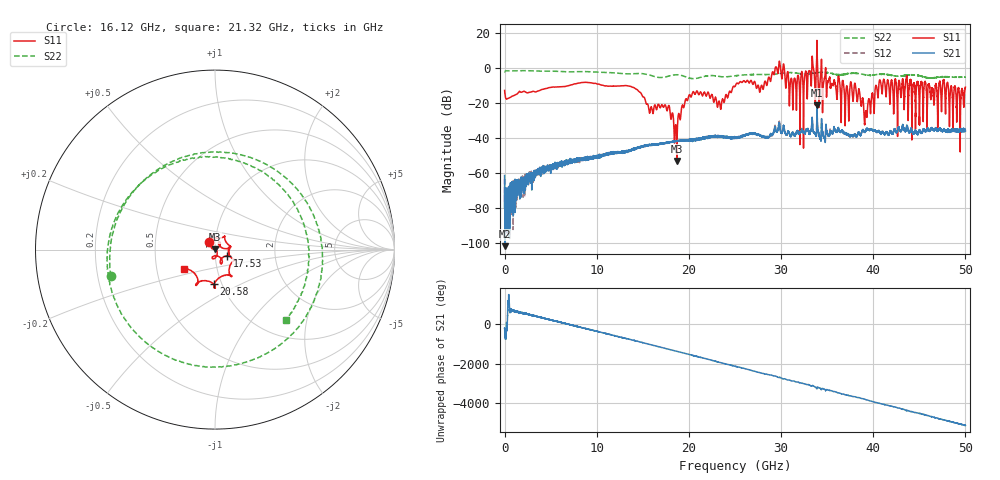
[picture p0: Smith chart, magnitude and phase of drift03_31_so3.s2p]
!Created with skrf (http://scikit-rf.org).
# Hz S RI R 50.0
!freq ReS11 ImS11 ReS21 ImS21 ReS12 ImS12 ReS22 ImS22
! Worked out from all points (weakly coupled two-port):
!   10001 points, 300 kHz to 50 GHz, reference 50 ohm
!   highest |S21| = -21.19 dB at 33.9 GHz (marker M1); lowest = -102.0 dB at 20.3 MHz (marker M2)
!   lowest |S11| = -53.1 dB at 18.7 GHz (marker M3), VSWR 1.00, Z = 50 + j0.221 ohm
!   |S11| at or under -10 dB: start of sweep to 6.946 GHz; 13.31 GHz to 25.05 GHz (11.73 GHz wide, 61.2 % of centre); 38.08 GHz to 40.27 GHz (2.191 GHz wide, 5.59 % of centre) (the widest 3 of 57)
!   |S22| runs from -5.9 to -1.3 dB; largest |S21 - S12| = 0.0075
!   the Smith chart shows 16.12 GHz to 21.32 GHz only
!   S11 on the Smith chart (normalised r, x): 16.12 GHz: 0.94, +0.08; 17.53 GHz: 1.14, -0.08; 20.58 GHz: 0.92, -0.37; 21.32 GHz: 0.69, -0.16
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300000  -0.2091 -0.1003  -0.000842 -3.85e-05  0.000533 0.000413  -0.7661 -0.1925
2.029988e7  -0.2007 0.0381  7.58e-06 -2.26e-06  -0.000246 -4.91e-05  -0.7994 0.00173
1.535291e9  0.2045 0.0432  -0.000136 -0.00052  -0.000123 -0.000352  0.8488 0.077
3.160281e9  -0.2186 -0.00846  -4.74e-05 0.000826  1.47e-05 0.000915  -0.8442 -0.0244
4.665272e9  0.2635 0.0615  -0.000171 -0.00136  -0.000131 -0.00133  0.8186 0.1423
6.360262e9  -0.2998 0.000874  0.000536 0.00169  0.000726 0.00186  -0.8041 -0.042
8.33525e9  0.2836 -0.2679  -0.00222 -0.000668  -0.00234 -0.00105  0.6015 -0.5359
1.043024e10  -0.0424 0.332  0.00223 -0.00189  0.0027 -0.00173  -0.0361 0.7702
1.201523e10  0.00693 -0.3083  -0.00289 0.00271  -0.00284 0.0026  0.1058 -0.7292
1.61152e10  -0.0316 0.041  0.0061 0.00199  0.00627 0.00213  -0.5802 -0.1478
1.66702e10  0.0542 0.0755  0.00471 -0.00479  0.00453 -0.00486  -0.357 0.419
1.752519e10  0.0675 -0.0353  -0.00603 -0.00409  -0.006 -0.00407  0.4931 0.2896
1.869519e10  3.99e-05 0.00221  0.00246 0.00784  0.0024 0.00797  -0.0893 -0.6486
2.057518e10  -0.00655 -0.1932  -0.00794 -0.00474  -0.00782 -0.00399  0.3741 0.3419
2.132017e10  -0.1715 -0.1079  -0.00524 0.00799  -0.00485 0.00845  0.396 -0.3919
2.500015e10  -0.2973 -0.0478  0.00773 0.00643  0.00779 0.00627  -0.1886 -0.5811
3.050512e10  0.2593 -0.0867  -0.00246 0.0126  -0.00242 0.0127  0.7419 -0.058
3.213011e10  0.2039 0.3706  -0.00101 -0.0149  -0.000617 -0.0147  -0.6902 0.0148
3.33351e10  0.4472 -0.9959  -0.00496 0.0245  -0.00633 0.0241  0.6157 0.3647
3.38951e10  -0.8179 -6.255  0.0868 0.00855  0.0836 0.00516  0.6782 -0.3281
4.167005e10  -0.2189 0.2879  -0.0117 -0.00419  -0.0115 -0.00504  -0.6533 -0.0549
5e10  -0.1449 -0.2485  0.00098 -0.0156  0.00156 -0.0168  0.4641 -0.3184
